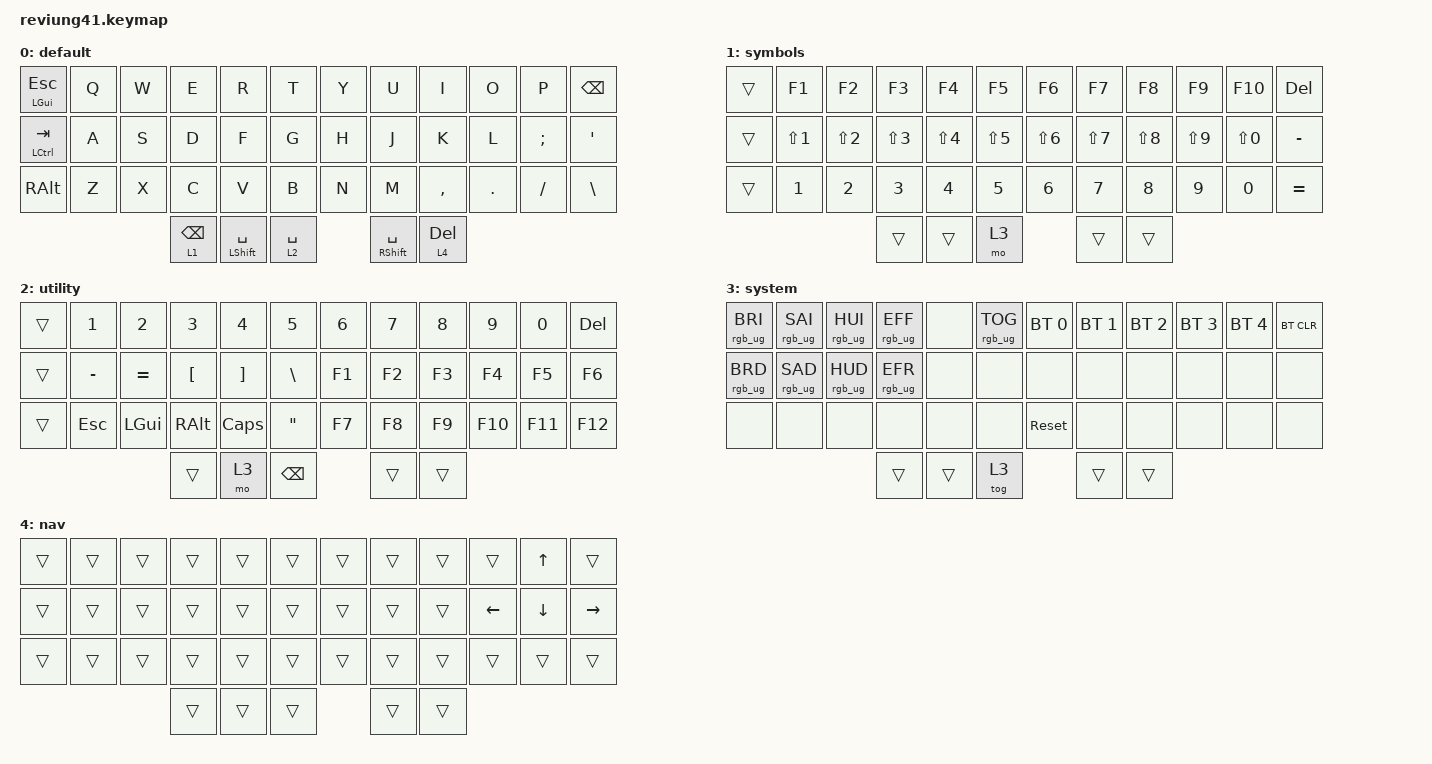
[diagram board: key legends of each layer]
/*
 * Copyright (c) 2020 The ZMK Contributors
 *
 * SPDX-License-Identifier: MIT
 */

#include <behaviors.dtsi>
#include <dt-bindings/zmk/bt.h>
#include <dt-bindings/zmk/keys.h>
#include <dt-bindings/zmk/rgb.h>

/ {
    keymap {
        compatible = "zmk,keymap";

        def {
            display-name = "default";

            // -------------------------------------------------------------------------------------
            // |  TAB |  Q  |  W  |  E  |  R  |  T  |   |  Y  |  U   |  I  |  O  |  P  |   BSPC    |
            // | CTRL |  A  |  S  |  D  |  F  |  G  |   |  H  |  J   |  K  |  L  |  ;  |    '      |
            // | SHFT |  Z  |  X  |  C  |  V  |  B  |   |  N  |  M   |  ,  |  .  |  /  | SHFT(RET) |
            //                         | ALT | LWR | SPC | RSE  | ALT |

            bindings = <
&mt LEFT_GUI ESCAPE  &kp Q  &kp W  &kp E            &kp R                 &kp T               &kp Y  &kp U                  &kp I         &kp O    &kp P     &kp BSPC
&mt LCTRL TAB        &kp A  &kp S  &kp D            &kp F                 &kp G               &kp H  &kp J                  &kp K         &kp L    &kp SEMI  &kp SQT
&kp RIGHT_ALT        &kp Z  &kp X  &kp C            &kp V                 &kp B               &kp N  &kp M                  &kp COMMA     &kp DOT  &kp FSLH  &kp BACKSLASH
                                   &lt 1 BACKSPACE  &mt LEFT_SHIFT SPACE         &lt 2 SPACE         &mt RIGHT_SHIFT SPACE  &lt 4 DELETE
            >;
        };

        sym {
            display-name = "symbols";

            // ------------------------------------------------------------------------------------
            // |    |  !  |  @  |  #  |  $  |  %  |   |  ^  |  &  |  *  |  (  |  )  |      DEL    |
            // |    |  _  |  +  |  {  |  }  | "|" |   | LFT | DWN |  UP | RGT |  `  |       ~     |
            // |    | ESC | GUI | ALT | CAPS|  "  |   | HOME| END | PGUP| PGDN| PRSC| SHFT(SPACE) |
            //                       |     |     | RET | ADJ |     |

            bindings = <
&trans  &kp F1            &kp F2            &kp F3            &kp F4            &kp F5                   &kp F6            &kp F7            &kp F8            &kp F9            &kp F10           &kp DEL
&trans  &kp LS(NUMBER_1)  &kp LS(NUMBER_2)  &kp LS(NUMBER_3)  &kp LS(NUMBER_4)  &kp LS(NUMBER_5)         &kp LS(NUMBER_6)  &kp LS(NUMBER_7)  &kp LS(NUMBER_8)  &kp LS(NUMBER_9)  &kp LS(NUMBER_0)  &kp MINUS
&trans  &kp NUMBER_1      &kp NUMBER_2      &kp NUMBER_3      &kp NUMBER_4      &kp NUMBER_5             &kp NUMBER_6      &kp NUMBER_7      &kp NUMBER_8      &kp NUMBER_9      &kp NUMBER_0      &kp EQUAL
                                            &trans            &trans                              &mo 3                    &trans            &trans
            >;
        };

        util {
            display-name = "utility";

            // ----------------------------------------------------------------------------
            // |    |  1  |  2  |  3  |  4  |  5  |   |  6  |  7  |  8  |  9  |  0  | DEL |
            // |    |  -  |  =  |  [  |  ]  |  \  |   | F1  | F2  | F3  | F4  | F5  | F6  |
            // |    | ESC | GUI | ALT | CAPS|  "  |   | F7  | F8  | F9  | F10 | F11 | F12 |
            //                       |     | ADJ | BSPC |    |     |

            bindings = <
&trans  &kp N1     &kp N2     &kp N3    &kp N4    &kp N5              &kp N6  &kp N7  &kp N8  &kp N9   &kp N0   &kp DEL
&trans  &kp MINUS  &kp EQUAL  &kp LBKT  &kp RBKT  &kp BSLH            &kp F1  &kp F2  &kp F3  &kp F4   &kp F5   &kp F6
&trans  &kp ESC    &kp LGUI   &kp RALT  &kp CLCK  &kp DQT             &kp F7  &kp F8  &kp F9  &kp F10  &kp F11  &kp F12
                              &trans    &mo 3               &kp BSPC          &trans  &trans
            >;
        };

        sys {
            display-name = "system";

            // -----------------------------------------------------------------------------------------
            // | RGB BRI+ | RGB SAT+ | RGB HUE+ | RGB ANI+ |    | RGB TOG |   |  BT1  | BT2 | BT3 | BT4 | BT5 | BT CLR |
            // | RGB BRI- | RGB SAT- | RGB HUE- | RGB ANI- |    |         |   |       |     |     |     |     |        |
            // |          |          |          |          |    |         |   | RESET |     |     |     |     |        |
            //                                              |     |     |     |     |     |

            bindings = <
&rgb_ug RGB_BRI  &rgb_ug RGB_SAI  &rgb_ug RGB_HUI  &rgb_ug RGB_EFF  &none   &rgb_ug RGB_TOG          &bt BT_SEL 0  &bt BT_SEL 1  &bt BT_SEL 2  &bt BT_SEL 3  &bt BT_SEL 4  &bt BT_CLR
&rgb_ug RGB_BRD  &rgb_ug RGB_SAD  &rgb_ug RGB_HUD  &rgb_ug RGB_EFR  &none   &none                    &none         &none         &none         &none         &none         &none
&none            &none            &none            &none            &none   &none                    &sys_reset    &none         &none         &none         &none         &none
                                                   &trans           &trans                   &tog 3                &trans        &trans
            >;
        };

        nav {
            bindings = <
&trans  &trans  &trans  &trans  &trans  &trans          &trans  &trans  &trans  &trans          &kp UP_ARROW    &trans
&trans  &trans  &trans  &trans  &trans  &trans          &trans  &trans  &trans  &kp LEFT_ARROW  &kp DOWN_ARROW  &kp RIGHT_ARROW
&trans  &trans  &trans  &trans  &trans  &trans          &trans  &trans  &trans  &trans          &trans          &trans
                        &trans  &trans          &trans          &trans  &trans
            >;

            label = "nav";
        };
    };
};
